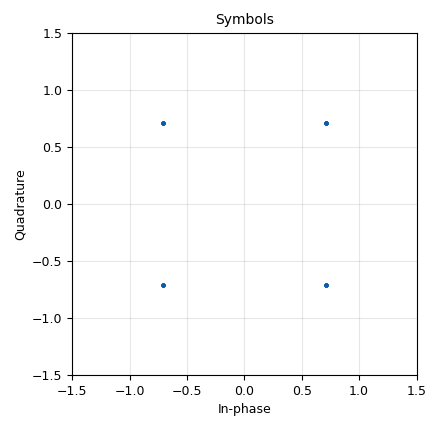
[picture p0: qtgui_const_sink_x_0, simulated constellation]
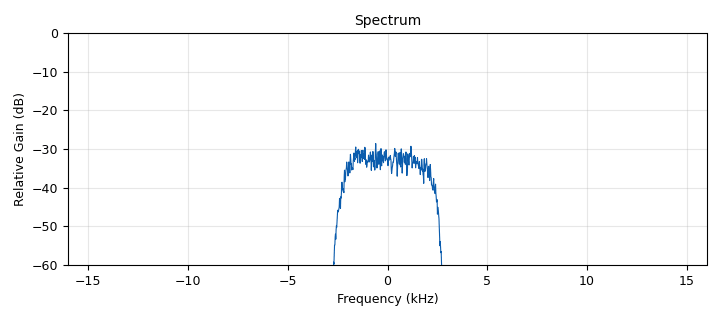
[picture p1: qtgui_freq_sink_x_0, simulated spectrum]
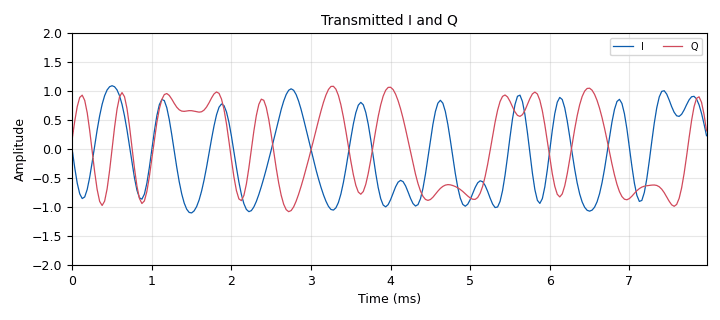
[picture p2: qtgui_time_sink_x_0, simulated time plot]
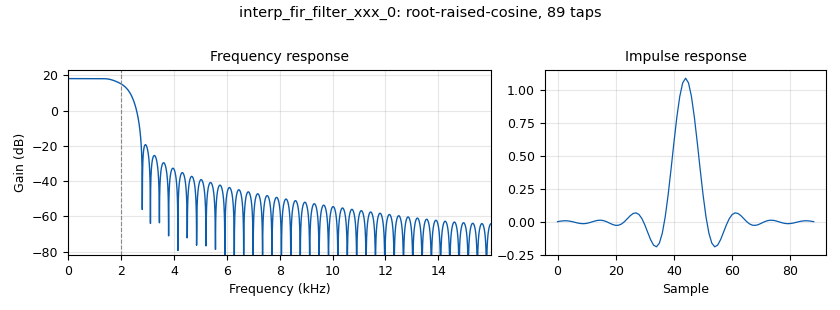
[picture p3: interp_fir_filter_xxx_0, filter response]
options:
  parameters:
    author: ECE 448
    description: 'L15: random symbols on a BPSK, QPSK, or 8PSK constellation, shaped by the L9 RRC filter. Switch M and watch the constellation, the I and Q waveforms, and the spectrum.'
    generate_options: qt_gui
    id: L15_psk_tx
    output_language: python
    title: L15 - PSK Transmitter
  states: {}

blocks:
- name: M
  id: variable_qtgui_chooser
  parameters:
    gui_hint: 0,0,1,3
    label: Constellation
    label0: BPSK (M = 2)
    label1: QPSK (M = 4)
    label2: 8PSK (M = 8)
    num_opts: '3'
    option0: '2'
    option1: '4'
    option2: '8'
    orient: Qt.QHBoxLayout
    type: int
    value: '4'
    widget: radio_buttons
  states: {}
- name: alpha
  id: variable
  parameters:
    value: '0.35'
  states: {}
- name: k
  id: variable
  parameters:
    value: int(math.log2(M))
  states: {}
- name: pts
  id: variable
  parameters:
    value: '[cmath.exp(1j*((0 if M == 2 else math.pi/M) + 2*math.pi*i/M)) for i in range(M)]'
  states: {}
- name: rx_taps
  id: variable
  parameters:
    value: firdes.root_raised_cosine(1.0, samp_rate, samp_rate/sps, alpha, 11*sps)
  states: {}
- name: samp_rate
  id: variable
  parameters:
    value: '32000'
  states: {}
- name: sps
  id: variable
  parameters:
    value: '8'
  states: {}
- name: table
  id: variable
  parameters:
    comment: 'i % M: the Random Source picks 0 to 7'
    value: '[pts[i % M] for i in range(8)]'
  states: {}
- name: tx_taps
  id: variable
  parameters:
    value: firdes.root_raised_cosine(sps, samp_rate, samp_rate/sps, alpha, 11*sps)
  states: {}
- name: analog_random_source_x_0
  id: analog_random_source_x
  parameters:
    max: '8'
    min: '0'
    num_samps: '100000'
    repeat: 'True'
    type: byte
  states: {}
- name: blocks_throttle2_0
  id: blocks_throttle2
  parameters:
    samples_per_second: samp_rate/sps
    type: complex
  states: {}
- name: digital_chunks_to_symbols_xx_0
  id: digital_chunks_to_symbols_xx
  parameters:
    dimension: '1'
    in_type: byte
    out_type: complex
    symbol_table: table
  states: {}
- name: import_0
  id: import
  parameters:
    imports: import math, cmath
  states: {}
- name: interp_fir_filter_xxx_0
  id: interp_fir_filter_xxx
  parameters:
    interp: sps
    taps: tx_taps
    type: ccf
  states: {}
- name: qtgui_const_sink_x_0
  id: qtgui_const_sink_x
  parameters:
    grid: 'True'
    gui_hint: 1,0,1,1
    legend: 'False'
    name: '"Symbols"'
    size: '256'
    type: complex
    xmax: '1.5'
    xmin: '-1.5'
    ymax: '1.5'
    ymin: '-1.5'
  states: {}
- name: qtgui_freq_sink_x_0
  id: qtgui_freq_sink_x
  parameters:
    average: '0.1'
    bw: samp_rate
    fc: '0'
    fftsize: '2048'
    grid: 'True'
    gui_hint: 1,2,1,1
    label: '"Relative Gain"'
    legend: 'False'
    name: '"Spectrum"'
    type: complex
    units: '"dB"'
    ymax: '0'
    ymin: '-60'
  states: {}
- name: qtgui_time_sink_x_0
  id: qtgui_time_sink_x
  parameters:
    entags: 'False'
    grid: 'True'
    gui_hint: 1,1,1,1
    label1: '"I"'
    label2: '"Q"'
    name: '"Transmitted I and Q"'
    size: '256'
    srate: samp_rate
    type: complex
    ylabel: '"Amplitude"'
    ymax: '2'
    ymin: '-2'
  states: {}

connections:
- [analog_random_source_x_0, '0', digital_chunks_to_symbols_xx_0, '0']
- [blocks_throttle2_0, '0', interp_fir_filter_xxx_0, '0']
- [blocks_throttle2_0, '0', qtgui_const_sink_x_0, '0']
- [digital_chunks_to_symbols_xx_0, '0', blocks_throttle2_0, '0']
- [interp_fir_filter_xxx_0, '0', qtgui_freq_sink_x_0, '0']
- [interp_fir_filter_xxx_0, '0', qtgui_time_sink_x_0, '0']

metadata:
  file_format: 1
  grc_version: 3.10.9.2
